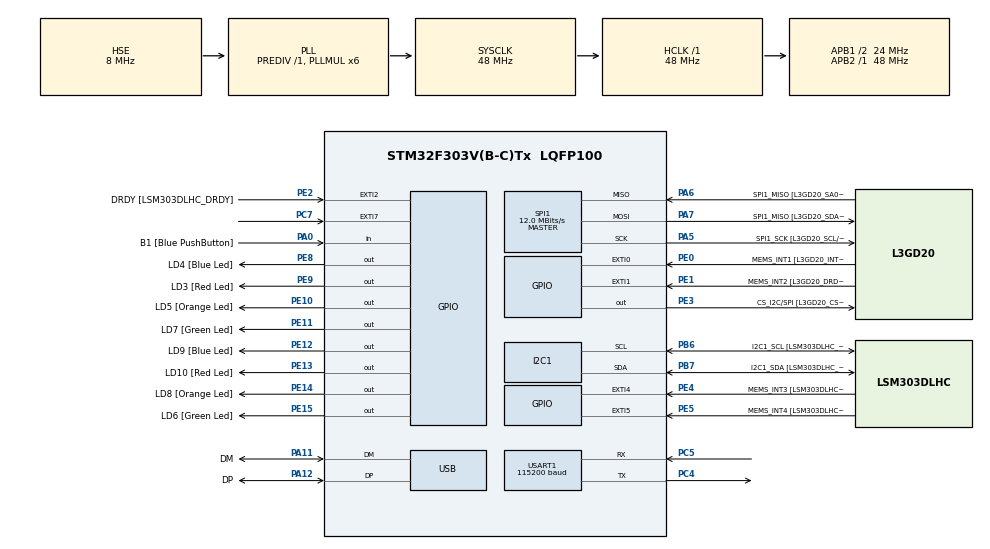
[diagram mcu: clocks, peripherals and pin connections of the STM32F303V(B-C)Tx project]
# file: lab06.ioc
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I2C1.Timing=0x00201D2B
I2C1.Timing-I2C=0x2000090E
Mcu.Family=STM32F3
Mcu.Name=STM32F303V(B-C)Tx
Mcu.Package=LQFP100
NVIC.EXTI9_5_IRQn=true\:0\:0\:false\:false\:true\:true\:true\:true
NVIC.PriorityGroup=NVIC_PRIORITYGROUP_0
NVIC.TIM2_IRQn=true\:0\:0\:false\:false\:true\:true\:true\:true
PA0.GPIO_Label=B1 [Blue PushButton]
PA0.Signal=GPIO_Input
PA11.GPIO_Label=DM
PA11.Mode=Device
PA11.Signal=USB_DM
PA12.GPIO_Label=DP
PA12.Mode=Device
PA12.Signal=USB_DP
PA13.GPIO_Label=SWDIO
PA13.Mode=Serial_Wire
PA13.Signal=SYS_JTMS-SWDIO
PA14.GPIO_Label=SWCLK
PA14.Mode=Serial_Wire
PA14.Signal=SYS_JTCK-SWCLK
PA5.GPIO_Label=SPI1_SCK [L3GD20_SCL/SPC]
PA5.Mode=Full_Duplex_Master
PA5.Signal=SPI1_SCK
PA6.GPIO_Label=SPI1_MISO [L3GD20_SA0/SDO]
PA6.Mode=Full_Duplex_Master
PA6.Signal=SPI1_MISO
PA7.GPIO_Label=SPI1_MISO [L3GD20_SDA/SDI/SDO]
PA7.Mode=Full_Duplex_Master
PA7.Signal=SPI1_MOSI
PB3.GPIO_Label=SWO
PB3.Signal=SYS_JTDO-TRACESWO
PB6.GPIO_Label=I2C1_SCL [LSM303DLHC_SCL]
PB6.GPIO_Pu=GPIO_PULLUP
PB6.Mode=I2C
PB6.Signal=I2C1_SCL
PB7.GPIO_Label=I2C1_SDA [LSM303DLHC_SDA]
PB7.GPIO_Pu=GPIO_PULLUP
PB7.Mode=I2C
PB7.Signal=I2C1_SDA
PC14-OSC32_IN.GPIO_Label=OSC32_IN
PC14-OSC32_IN.Signal=RCC_OSC32_IN
PC15-OSC32_OUT.GPIO_Label=OSC32_OUT
PC15-OSC32_OUT.Signal=RCC_OSC32_OUT
PC4.Mode=Asynchronous
PC4.Signal=USART1_TX
PC5.Mode=Asynchronous
PC5.Signal=USART1_RX
PC7.GPIO_ModeDefaultEXTI=GPIO_MODE_IT_RISING
PC7.GPIO_PuPd=GPIO_NOPULL
PC7.Signal=GPXTI7
PE0.GPIO_Label=MEMS_INT1 [L3GD20_INT1]
PE0.GPIO_ModeDefaultEXTI=GPIO_MODE_EVT_RISING
PE0.Signal=GPXTI0
PE1.GPIO_Label=MEMS_INT2 [L3GD20_DRDY/INT2]
PE1.GPIO_ModeDefaultEXTI=GPIO_MODE_EVT_RISING
PE1.Signal=GPXTI1
PE10.GPIO_Label=LD5 [Orange Led]
PE10.Signal=GPIO_Output
PE11.GPIO_Label=LD7 [Green Led]
PE11.Signal=GPIO_Output
PE12.GPIO_Label=LD9 [Blue Led]
PE12.Signal=GPIO_Output
PE13.GPIO_Label=LD10 [Red Led]
PE13.Signal=GPIO_Output
PE14.GPIO_Label=LD8 [Orange Led]
PE14.Signal=GPIO_Output
PE15.GPIO_Label=LD6 [Green Led]
PE15.Signal=GPIO_Output
PE2.GPIO_Label=DRDY [LSM303DLHC_DRDY]
PE2.GPIO_ModeDefaultEXTI=GPIO_MODE_EVT_RISING
PE2.Signal=GPXTI2
PE3.GPIO_Label=CS_I2C/SPI [L3GD20_CS_I2C/SPI]
PE3.Signal=GPIO_Output
PE4.GPIO_Label=MEMS_INT3 [LSM303DLHC_INT1]
PE4.GPIO_ModeDefaultEXTI=GPIO_MODE_EVT_RISING
PE4.Signal=GPXTI4
PE5.GPIO_Label=MEMS_INT4 [LSM303DLHC_INT2]
PE5.GPIO_ModeDefaultEXTI=GPIO_MODE_EVT_RISING
PE5.Signal=GPXTI5
PE8.GPIO_Label=LD4 [Blue Led]
PE8.Signal=GPIO_Output
PE9.GPIO_Label=LD3 [Red Led]
PE9.Signal=GPIO_Output
PF0-OSC_IN.GPIO_Label=OSC_IN
PF0-OSC_IN.Mode=HSE-External-Clock-Source
PF0-OSC_IN.Signal=RCC_OSC_IN
PF1-OSC_OUT.GPIO_Label=OSC_OUT
PF1-OSC_OUT.Signal=RCC_OSC_OUT
ProjectManager.HeapSize=0x200
ProjectManager.StackSize=0x400
ProjectManager.TargetToolchain=CMake
RCC.AHBFreq_Value=48000000
RCC.APB1CLKDivider=RCC_HCLK_DIV2
RCC.APB1Freq_Value=24000000
RCC.APB1TimFreq_Value=48000000
RCC.APB2Freq_Value=48000000
RCC.APB2TimFreq_Value=48000000
RCC.CortexFreq_Value=48000000
RCC.HCLKFreq_Value=48000000
RCC.HSE_VALUE=8000000
RCC.HSI_VALUE=8000000
RCC.LSE_VALUE=32768
RCC.PLLMUL=RCC_PLL_MUL6
RCC.SYSCLKFreq_VALUE=48000000
RCC.SYSCLKSourceVirtual=RCC_SYSCLKSOURCE_PLLCLK
RCC.USBFreq_Value=48000000
SPI1.BaudRatePrescaler=SPI_BAUDRATEPRESCALER_4
SPI1.BaudRatePrescaler-Full_Duplex_Master=SPI_BAUDRATEPRESCALER_2
SPI1.CalculateBaudRate=12.0 MBits/s
SPI1.CalculateBaudRate-Full_Duplex_Master=24.0 MBits/s
SPI1.Direction=SPI_DIRECTION_2LINES
SPI1.Mode=SPI_MODE_MASTER
SPI1.Mode-Full_Duplex_Master=SPI_MODE_MASTER
SPI1.VirtualType=VM_MASTER
TIM2.Prescaler=9
USART1.BaudRate=115200
USART1.VirtualMode-Asynchronous=VM_ASYNC
VP_TIM2_VS_ClockSourceINT.Mode=Internal
board=STM32F3DISCOVERY

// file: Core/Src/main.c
/* USER CODE BEGIN Header */
/**
  ******************************************************************************
  * @file           : main.c
  * @brief          : Main program body
  ******************************************************************************
  * @attention
  *
  * Copyright (c) 2026 STMicroelectronics.
  * All rights reserved.
  *
  * This software is licensed under terms that can be found in the LICENSE file
  * in the root directory of this software component.
  * If no LICENSE file comes with this software, it is provided AS-IS.
  *
  ******************************************************************************
  */
/* USER CODE END Header */
#include "main.h"

/* USER CODE BEGIN Includes */
#include <stdio.h>
#include <string.h>
/* USER CODE END Includes */

/* USER CODE BEGIN PD */
#define NUM_SAMPLES   10
#define TIMER_FREQ    4800000.0f
/* USER CODE END PD */

I2C_HandleTypeDef hi2c1;

SPI_HandleTypeDef hspi1;

TIM_HandleTypeDef htim2;

UART_HandleTypeDef huart1;

PCD_HandleTypeDef hpcd_USB_FS;

/* USER CODE BEGIN PV */
volatile uint32_t periods[NUM_SAMPLES];   // stored tick counts
volatile uint8_t  sample_idx = 0;         // index to tell total number of ticks
volatile uint8_t  timer_running = 0;      // check to see if we are detecting first or second rising edge
volatile uint8_t  print_flag = 0;
char uart_buf[64];
/* USER CODE END PV */

void SystemClock_Config(void);
static void MX_GPIO_Init(void);
static void MX_I2C1_Init(void);
static void MX_SPI1_Init(void);
static void MX_TIM2_Init(void);
static void MX_USB_PCD_Init(void);
static void MX_USART1_UART_Init(void);
/* USER CODE BEGIN PFP */

void HAL_GPIO_EXTI_Callback(uint16_t GPIO_Pin)
{
  if (GPIO_Pin != GPIO_PIN_7) return;   // only react to our signal pin
  if (print_flag) return;               // if list alr full return

  if (!timer_running)
  {
    // 1st rising edge so reset and start the timer
    __HAL_TIM_SET_COUNTER(&htim2, 0);
    HAL_TIM_Base_Start(&htim2);
    HAL_GPIO_TogglePin(GPIOE, LD3_Pin);   // toggle LED to show we are measuring
    timer_running = 1;
  }
  else
  {
    // 2nd rising edge so read FIRST, then stop
    uint32_t ticks = __HAL_TIM_GET_COUNTER(&htim2);
    HAL_TIM_Base_Stop(&htim2);
    timer_running = 0;

    periods[sample_idx++] = ticks;

    if (sample_idx >= NUM_SAMPLES)
    {
      print_flag = 1;
    }
  }
}

/* USER CODE END PFP */

int main(void)
{

  /* MCU Configuration--------------------------------------------------------*/

  /* Reset of all peripherals, Initializes the Flash interface and the Systick. */
  HAL_Init();

  /* Configure the system clock */
  SystemClock_Config();

  /* Initialize all configured peripherals */
  MX_GPIO_Init();
  MX_I2C1_Init();
  MX_SPI1_Init();
  MX_TIM2_Init();
  MX_USB_PCD_Init();
  MX_USART1_UART_Init();

  /* Infinite loop */
  while (1)
  {

    /* USER CODE BEGIN 3 */
    HAL_Delay(100);
    if (print_flag)
    {
      uint64_t sum = 0;
      for (uint8_t i = 0; i < NUM_SAMPLES; i++)
      {
        sum += periods[i];
      }

      float avg_ticks = (float)sum / NUM_SAMPLES;
      float freq      = TIMER_FREQ / avg_ticks;
      float error     = freq / avg_ticks;       // +/- 1 tick uncertainty

      sprintf(uart_buf, "Freq: %.2f +/- %.2f Hz\r\n", freq, error);
      HAL_UART_Transmit(&huart1, (uint8_t *)uart_buf, strlen(uart_buf), HAL_MAX_DELAY);

      sample_idx = 0;
      print_flag = 0;          // clear LAST so the ISR restarts collecting
    }
  }
  /* USER CODE END 3 */
}

void SystemClock_Config(void)
{
  RCC_OscInitTypeDef RCC_OscInitStruct = {0};
  RCC_ClkInitTypeDef RCC_ClkInitStruct = {0};
  RCC_PeriphCLKInitTypeDef PeriphClkInit = {0};

  /** Initializes the RCC Oscillators according to the specified parameters
  * in the RCC_OscInitTypeDef structure.
  */
  RCC_OscInitStruct.OscillatorType = RCC_OSCILLATORTYPE_HSI|RCC_OSCILLATORTYPE_HSE;
  RCC_OscInitStruct.HSEState = RCC_HSE_BYPASS;
  RCC_OscInitStruct.HSEPredivValue = RCC_HSE_PREDIV_DIV1;
  RCC_OscInitStruct.HSIState = RCC_HSI_ON;
  RCC_OscInitStruct.HSICalibrationValue = RCC_HSICALIBRATION_DEFAULT;
  RCC_OscInitStruct.PLL.PLLState = RCC_PLL_ON;
  RCC_OscInitStruct.PLL.PLLSource = RCC_PLLSOURCE_HSE;
  RCC_OscInitStruct.PLL.PLLMUL = RCC_PLL_MUL6;
  if (HAL_RCC_OscConfig(&RCC_OscInitStruct) != HAL_OK)
  {
    Error_Handler();
  }

  /** Initializes the CPU, AHB and APB buses clocks
  */
  RCC_ClkInitStruct.ClockType = RCC_CLOCKTYPE_HCLK|RCC_CLOCKTYPE_SYSCLK
                              |RCC_CLOCKTYPE_PCLK1|RCC_CLOCKTYPE_PCLK2;
  RCC_ClkInitStruct.SYSCLKSource = RCC_SYSCLKSOURCE_PLLCLK;
  RCC_ClkInitStruct.AHBCLKDivider = RCC_SYSCLK_DIV1;
  RCC_ClkInitStruct.APB1CLKDivider = RCC_HCLK_DIV2;
  RCC_ClkInitStruct.APB2CLKDivider = RCC_HCLK_DIV1;

  if (HAL_RCC_ClockConfig(&RCC_ClkInitStruct, FLASH_LATENCY_1) != HAL_OK)
  {
    Error_Handler();
  }
  PeriphClkInit.PeriphClockSelection = RCC_PERIPHCLK_USB|RCC_PERIPHCLK_USART1
                              |RCC_PERIPHCLK_I2C1;
  PeriphClkInit.Usart1ClockSelection = RCC_USART1CLKSOURCE_PCLK2;
  PeriphClkInit.I2c1ClockSelection = RCC_I2C1CLKSOURCE_HSI;
  PeriphClkInit.USBClockSelection = RCC_USBCLKSOURCE_PLL;
  if (HAL_RCCEx_PeriphCLKConfig(&PeriphClkInit) != HAL_OK)
  {
    Error_Handler();
  }
}

static void MX_I2C1_Init(void)
{

  hi2c1.Instance = I2C1;
  hi2c1.Init.Timing = 0x00201D2B;
  hi2c1.Init.OwnAddress1 = 0;
  hi2c1.Init.AddressingMode = I2C_ADDRESSINGMODE_7BIT;
  hi2c1.Init.DualAddressMode = I2C_DUALADDRESS_DISABLE;
  hi2c1.Init.OwnAddress2 = 0;
  hi2c1.Init.OwnAddress2Masks = I2C_OA2_NOMASK;
  hi2c1.Init.GeneralCallMode = I2C_GENERALCALL_DISABLE;
  hi2c1.Init.NoStretchMode = I2C_NOSTRETCH_DISABLE;
  if (HAL_I2C_Init(&hi2c1) != HAL_OK)
  {
    Error_Handler();
  }

  /** Configure Analogue filter
  */
  if (HAL_I2CEx_ConfigAnalogFilter(&hi2c1, I2C_ANALOGFILTER_ENABLE) != HAL_OK)
  {
    Error_Handler();
  }

  /** Configure Digital filter
  */
  if (HAL_I2CEx_ConfigDigitalFilter(&hi2c1, 0) != HAL_OK)
  {
    Error_Handler();
  }

}

static void MX_SPI1_Init(void)
{

  /* SPI1 parameter configuration*/
  hspi1.Instance = SPI1;
  hspi1.Init.Mode = SPI_MODE_MASTER;
  hspi1.Init.Direction = SPI_DIRECTION_2LINES;
  hspi1.Init.DataSize = SPI_DATASIZE_4BIT;
  hspi1.Init.CLKPolarity = SPI_POLARITY_LOW;
  hspi1.Init.CLKPhase = SPI_PHASE_1EDGE;
  hspi1.Init.NSS = SPI_NSS_SOFT;
  hspi1.Init.BaudRatePrescaler = SPI_BAUDRATEPRESCALER_4;
  hspi1.Init.FirstBit = SPI_FIRSTBIT_MSB;
  hspi1.Init.TIMode = SPI_TIMODE_DISABLE;
  hspi1.Init.CRCCalculation = SPI_CRCCALCULATION_DISABLE;
  hspi1.Init.CRCPolynomial = 7;
  hspi1.Init.CRCLength = SPI_CRC_LENGTH_DATASIZE;
  hspi1.Init.NSSPMode = SPI_NSS_PULSE_ENABLE;
  if (HAL_SPI_Init(&hspi1) != HAL_OK)
  {
    Error_Handler();
  }

}

static void MX_TIM2_Init(void)
{

  TIM_ClockConfigTypeDef sClockSourceConfig = {0};
  TIM_MasterConfigTypeDef sMasterConfig = {0};

  htim2.Instance = TIM2;
  htim2.Init.Prescaler = 9;
  htim2.Init.CounterMode = TIM_COUNTERMODE_UP;
  htim2.Init.Period = 4294967295;
  htim2.Init.ClockDivision = TIM_CLOCKDIVISION_DIV1;
  htim2.Init.AutoReloadPreload = TIM_AUTORELOAD_PRELOAD_DISABLE;
  if (HAL_TIM_Base_Init(&htim2) != HAL_OK)
  {
    Error_Handler();
  }
  sClockSourceConfig.ClockSource = TIM_CLOCKSOURCE_INTERNAL;
  if (HAL_TIM_ConfigClockSource(&htim2, &sClockSourceConfig) != HAL_OK)
  {
    Error_Handler();
  }
  sMasterConfig.MasterOutputTrigger = TIM_TRGO_RESET;
  sMasterConfig.MasterSlaveMode = TIM_MASTERSLAVEMODE_DISABLE;
  if (HAL_TIMEx_MasterConfigSynchronization(&htim2, &sMasterConfig) != HAL_OK)
  {
    Error_Handler();
  }

}

static void MX_USART1_UART_Init(void)
{

  huart1.Instance = USART1;
  huart1.Init.BaudRate = 115200;
  huart1.Init.WordLength = UART_WORDLENGTH_8B;
  huart1.Init.StopBits = UART_STOPBITS_1;
  huart1.Init.Parity = UART_PARITY_NONE;
  huart1.Init.Mode = UART_MODE_TX_RX;
  huart1.Init.HwFlowCtl = UART_HWCONTROL_NONE;
  huart1.Init.OverSampling = UART_OVERSAMPLING_16;
  huart1.Init.OneBitSampling = UART_ONE_BIT_SAMPLE_DISABLE;
  huart1.AdvancedInit.AdvFeatureInit = UART_ADVFEATURE_NO_INIT;
  if (HAL_UART_Init(&huart1) != HAL_OK)
  {
    Error_Handler();
  }

}

static void MX_USB_PCD_Init(void)
{

  hpcd_USB_FS.Instance = USB;
  hpcd_USB_FS.Init.dev_endpoints = 8;
  hpcd_USB_FS.Init.speed = PCD_SPEED_FULL;
  hpcd_USB_FS.Init.phy_itface = PCD_PHY_EMBEDDED;
  hpcd_USB_FS.Init.low_power_enable = DISABLE;
  hpcd_USB_FS.Init.battery_charging_enable = DISABLE;
  if (HAL_PCD_Init(&hpcd_USB_FS) != HAL_OK)
  {
    Error_Handler();
  }

}

static void MX_GPIO_Init(void)
{
  GPIO_InitTypeDef GPIO_InitStruct = {0};

  /* GPIO Ports Clock Enable */
  __HAL_RCC_GPIOE_CLK_ENABLE();
  __HAL_RCC_GPIOC_CLK_ENABLE();
  __HAL_RCC_GPIOF_CLK_ENABLE();
  __HAL_RCC_GPIOA_CLK_ENABLE();
  __HAL_RCC_GPIOB_CLK_ENABLE();

  /*Configure GPIO pin Output Level */
  HAL_GPIO_WritePin(GPIOE, CS_I2C_SPI_Pin|LD4_Pin|LD3_Pin|LD5_Pin
                          |LD7_Pin|LD9_Pin|LD10_Pin|LD8_Pin
                          |LD6_Pin, GPIO_PIN_RESET);

  /*Configure GPIO pins : DRDY_Pin MEMS_INT3_Pin MEMS_INT4_Pin MEMS_INT1_Pin
                           MEMS_INT2_Pin */
  GPIO_InitStruct.Pin = DRDY_Pin|MEMS_INT3_Pin|MEMS_INT4_Pin|MEMS_INT1_Pin
                          |MEMS_INT2_Pin;
  GPIO_InitStruct.Mode = GPIO_MODE_EVT_RISING;
  GPIO_InitStruct.Pull = GPIO_NOPULL;
  HAL_GPIO_Init(GPIOE, &GPIO_InitStruct);

  /*Configure GPIO pins : CS_I2C_SPI_Pin LD4_Pin LD3_Pin LD5_Pin
                           LD7_Pin LD9_Pin LD10_Pin LD8_Pin
                           LD6_Pin */
  GPIO_InitStruct.Pin = CS_I2C_SPI_Pin|LD4_Pin|LD3_Pin|LD5_Pin
                          |LD7_Pin|LD9_Pin|LD10_Pin|LD8_Pin
                          |LD6_Pin;
  GPIO_InitStruct.Mode = GPIO_MODE_OUTPUT_PP;
  GPIO_InitStruct.Pull = GPIO_NOPULL;
  GPIO_InitStruct.Speed = GPIO_SPEED_FREQ_LOW;
  HAL_GPIO_Init(GPIOE, &GPIO_InitStruct);

  /*Configure GPIO pin : B1_Pin */
  GPIO_InitStruct.Pin = B1_Pin;
  GPIO_InitStruct.Mode = GPIO_MODE_INPUT;
  GPIO_InitStruct.Pull = GPIO_NOPULL;
  HAL_GPIO_Init(B1_GPIO_Port, &GPIO_InitStruct);

  /*Configure GPIO pin : PC7 */
  GPIO_InitStruct.Pin = GPIO_PIN_7;
  GPIO_InitStruct.Mode = GPIO_MODE_IT_RISING;
  GPIO_InitStruct.Pull = GPIO_NOPULL;
  HAL_GPIO_Init(GPIOC, &GPIO_InitStruct);

  /* EXTI interrupt init*/
  HAL_NVIC_SetPriority(EXTI9_5_IRQn, 0, 0);
  HAL_NVIC_EnableIRQ(EXTI9_5_IRQn);

}

void Error_Handler(void)
{
  __disable_irq();
  while (1)
  {
  }
}
